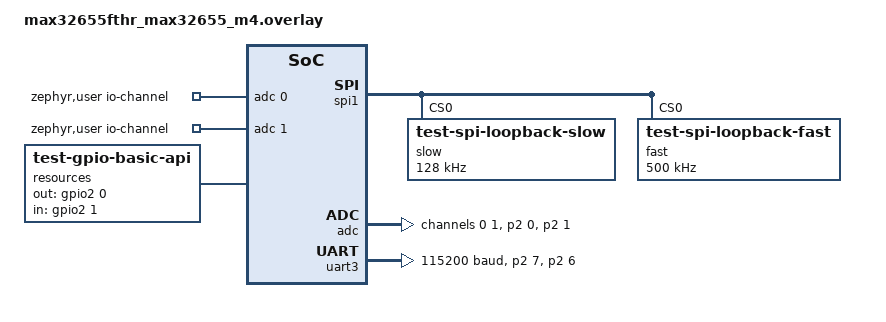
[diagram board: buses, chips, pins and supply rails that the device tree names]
/*
 * Copyright (c) 2024 Analog Devices, Inc.
 *
 * SPDX-License-Identifier: Apache-2.0
 */

tst_dma0: &dma0 {};

&spi1 {
	dmas = <&dma0 1 MAX32_DMA_SLOT_SPI1_TX>, <&dma0 2 MAX32_DMA_SLOT_SPI1_RX>;
	dma-names = "tx", "rx";
	slow@0 {
		compatible = "test-spi-loopback-slow";
		reg = <0>;
		spi-max-frequency = <128000>;
	};
	fast@0 {
		compatible = "test-spi-loopback-fast";
		reg = <0>;
		spi-max-frequency = <500000>;
	};
};

/ {
	zephyr,user {
		io-channels = <&adc 0>, <&adc 1>;
	};
};

&adc {
	status = "okay";
	pinctrl-0 = <&ain0_p2_0 &ain1_p2_1>;
	pinctrl-names = "default";
	#address-cells = <1>;
	#size-cells = <0>;
	channel@0 {
		reg = <0>;
		zephyr,gain = "ADC_GAIN_1";
		zephyr,reference = "ADC_REF_INTERNAL";
		zephyr,acquisition-time = <ADC_ACQ_TIME_DEFAULT>;
		zephyr,resolution = <10>;
	};
	channel@1 {
		reg = <1>;
		zephyr,gain = "ADC_GAIN_1";
		zephyr,reference = "ADC_REF_INTERNAL";
		zephyr,acquisition-time = <ADC_ACQ_TIME_DEFAULT>;
		zephyr,resolution = <10>;
	};
};

/ {
	resources {
		compatible = "test-gpio-basic-api";
		out-gpios = <&gpio2 0 0>;
		in-gpios = <&gpio2 1 0>;
	};
};

dut: &uart3 {
	status = "okay";
	pinctrl-0 = <&lpuartb_tx_p2_7 &lpuartb_rx_p2_6>;
	pinctrl-names = "default";
	dmas = <&dma0 1 MAX32_DMA_SLOT_UART3_TX>, <&dma0 2 MAX32_DMA_SLOT_UART3_RX>;
	dma-names = "tx", "rx";
	current-speed = <115200>;
	data-bits = <8>;
	parity = "none";
};
